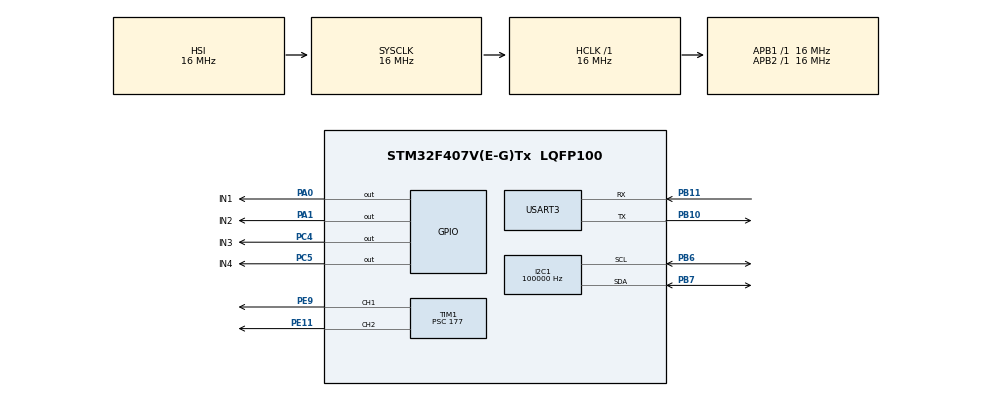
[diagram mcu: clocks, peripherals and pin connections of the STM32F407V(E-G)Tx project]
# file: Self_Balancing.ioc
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I2C1.ClockSpeed=100000
I2C1.I2C_Mode=I2C_Standard
Mcu.Family=STM32F4
Mcu.Name=STM32F407V(E-G)Tx
Mcu.Package=LQFP100
NVIC.PriorityGroup=NVIC_PRIORITYGROUP_4
NVIC.TIM3_IRQn=true\:0\:0\:false\:false\:true\:true\:true
PA0-WKUP.GPIO_Label=IN1
PA0-WKUP.GPIO_Speed=GPIO_SPEED_FREQ_HIGH
PA0-WKUP.Signal=GPIO_Output
PA1.GPIO_Label=IN2
PA1.GPIO_Speed=GPIO_SPEED_FREQ_HIGH
PA1.Signal=GPIO_Output
PB10.Mode=Asynchronous
PB10.Signal=USART3_TX
PB11.Mode=Asynchronous
PB11.Signal=USART3_RX
PB6.Mode=I2C
PB6.Signal=I2C1_SCL
PB7.Mode=I2C
PB7.Signal=I2C1_SDA
PC4.GPIO_Label=IN3
PC4.GPIO_Speed=GPIO_SPEED_FREQ_HIGH
PC4.Signal=GPIO_Output
PC5.GPIO_Label=IN4
PC5.GPIO_Speed=GPIO_SPEED_FREQ_VERY_HIGH
PC5.Signal=GPIO_Output
PE11.Signal=S_TIM1_CH2
PE9.Signal=S_TIM1_CH1
ProjectManager.HeapSize=0x200
ProjectManager.StackSize=0x400
ProjectManager.TargetToolchain=STM32CubeIDE
RCC.AHBFreq_Value=16000000
RCC.APB1Freq_Value=16000000
RCC.APB2Freq_Value=16000000
RCC.CortexFreq_Value=16000000
RCC.HSE_VALUE=25000000
RCC.HSI_VALUE=16000000
RCC.LSE_VALUE=32768
RCC.SYSCLKFreq_VALUE=16000000
RCC.VCOOutputFreq_Value=192000000
SH.S_TIM1_CH1.0=TIM1_CH1,PWM Generation1 CH1
SH.S_TIM1_CH2.0=TIM1_CH2,PWM Generation2 CH2
TIM1.Channel-PWM\ Generation1\ CH1=TIM_CHANNEL_1
TIM1.Channel-PWM\ Generation2\ CH2=TIM_CHANNEL_2
TIM1.Period=1800
TIM1.Prescaler=177
TIM3.Period=9
TIM3.Prescaler=159
USART3.VirtualMode=VM_ASYNC
VP_TIM3_VS_ClockSourceINT.Mode=Internal
board=custom

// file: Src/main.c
/* USER CODE BEGIN Header */
/**
  ******************************************************************************
  * @file           : main.c
  * @brief          : Main program body
  ******************************************************************************
  * @attention
  *
  * <h2><center>&copy; Copyright (c) 2020 STMicroelectronics.
  * All rights reserved.</center></h2>
  *
  * This software component is licensed by ST under BSD 3-Clause license,
  * the "License"; You may not use this file except in compliance with the
  * License. You may obtain a copy of the License at:
  *                        opensource.org/licenses/BSD-3-Clause
  *
  ******************************************************************************
  */
/* USER CODE END Header */

#include "main.h"
#include "i2c.h"
#include "tim.h"
#include "usart.h"
#include "gpio.h"

/* USER CODE BEGIN Includes */
#include"stdio.h"
#include"string.h"
#include <math.h>
#define MPU6050_AD 0xd0
/* USER CODE END Includes */

/* USER CODE BEGIN PV */
uint8_t DatoRecibido[15];
uint8_t DatoEnviado[2];
float Y=0.0;
float u;
float Kp=350.0;//200//360//360//360
float Ki=0.0;
float Kd=9.5;//2.5//8//9//10
float Ref=0.0;
int atras=0;
int adelante=0;
float x[3]={0,0,0};
float pedirDatosMPU();
void motores(double U);
char bufer[30];
/* USER CODE END PV */

void SystemClock_Config(void);
/* USER CODE BEGIN PFP */
void configurarMPU6050();
/* USER CODE END PFP */

int main(void)
{

  /* MCU Configuration--------------------------------------------------------*/

  /* Reset of all peripherals, Initializes the Flash interface and the Systick. */

HAL_Init();

  /* Configure the system clock */
  SystemClock_Config();

  /* Initialize all configured peripherals */
  MX_GPIO_Init();
  MX_I2C1_Init();
  MX_TIM1_Init();
  MX_TIM3_Init();
  MX_USART3_UART_Init();
  /* USER CODE BEGIN 2 */
  configurarMPU6050();
  HAL_TIM_PWM_Start(&htim1,TIM_CHANNEL_1);
  HAL_TIM_PWM_Start(&htim1,TIM_CHANNEL_2);
  //HAL_TIM_Base_Start_IT(&htim3);
  /* USER CODE END 2 */

  /* Infinite loop */
  while (1)
  {

    /* USER CODE BEGIN 3 */
	  Y=pedirDatosMPU();
	  x[0]=Ref-Y;
	  x[2]=x[0]+x[2];
	  u=Kp*x[0]+Ki*(x[2])+Kd*(x[0]-x[1]);
	  motores(u);
	  x[1]=x[0];
	  //sprintf(bufer,"Y: %i \n",Y_b);
	  //HAL_UART_Transmit(&huart3, (uint8_t*)bufer, (uint16_t)strlen(bufer), (uint32_t)100);
  }
  /* USER CODE END 3 */
}

void SystemClock_Config(void)
{
  RCC_OscInitTypeDef RCC_OscInitStruct = {0};
  RCC_ClkInitTypeDef RCC_ClkInitStruct = {0};

  /** Configure the main internal regulator output voltage
  */
  __HAL_RCC_PWR_CLK_ENABLE();
  __HAL_PWR_VOLTAGESCALING_CONFIG(PWR_REGULATOR_VOLTAGE_SCALE1);
  /** Initializes the CPU, AHB and APB busses clocks
  */
  RCC_OscInitStruct.OscillatorType = RCC_OSCILLATORTYPE_HSI;
  RCC_OscInitStruct.HSIState = RCC_HSI_ON;
  RCC_OscInitStruct.HSICalibrationValue = RCC_HSICALIBRATION_DEFAULT;
  RCC_OscInitStruct.PLL.PLLState = RCC_PLL_NONE;
  if (HAL_RCC_OscConfig(&RCC_OscInitStruct) != HAL_OK)
  {
    Error_Handler();
  }
  /** Initializes the CPU, AHB and APB busses clocks
  */
  RCC_ClkInitStruct.ClockType = RCC_CLOCKTYPE_HCLK|RCC_CLOCKTYPE_SYSCLK
                              |RCC_CLOCKTYPE_PCLK1|RCC_CLOCKTYPE_PCLK2;
  RCC_ClkInitStruct.SYSCLKSource = RCC_SYSCLKSOURCE_HSI;
  RCC_ClkInitStruct.AHBCLKDivider = RCC_SYSCLK_DIV1;
  RCC_ClkInitStruct.APB1CLKDivider = RCC_HCLK_DIV1;
  RCC_ClkInitStruct.APB2CLKDivider = RCC_HCLK_DIV1;

  if (HAL_RCC_ClockConfig(&RCC_ClkInitStruct, FLASH_LATENCY_0) != HAL_OK)
  {
    Error_Handler();
  }
}

/* USER CODE BEGIN 4 */
void configurarMPU6050(){
	   DatoEnviado[0]=0x6B;
	   DatoEnviado[1]=0x00;
	   HAL_I2C_Master_Transmit(&hi2c1,(uint16_t)MPU6050_AD,DatoEnviado,2,100);
	   DatoEnviado[0]=0x19;
	   DatoEnviado[1]=0x07;
	   HAL_I2C_Master_Transmit(&hi2c1,(uint16_t)MPU6050_AD,DatoEnviado,2,100);
	   DatoEnviado[0]=0x19;
	   DatoEnviado[1]=0x07;
	   HAL_I2C_Master_Transmit(&hi2c1,(uint16_t)MPU6050_AD,DatoEnviado,2,100);
}

float pedirDatosMPU(){
	  float AY;
	  DatoEnviado[0]=0x3B;
	  DatoEnviado[1]=0x00;
	  HAL_I2C_Master_Transmit(&hi2c1,(uint16_t)MPU6050_AD,&DatoEnviado[0],1,100);
	  HAL_I2C_Master_Receive(&hi2c1,(uint16_t)MPU6050_AD,DatoRecibido,14,100);
	  AY=(float)(((int16_t)(DatoRecibido[2]<<8|DatoRecibido[3]))/(float)1638);
	  return AY;
}

void motores(double U){
	if (U < -1750){
		U=-1750;
	}
	if (U >1750){
			U=1750;
			}

	atras=0;
	adelante=0;
	if (U>0){
		adelante=U;       // PWM de los motores atras y adelante (las dos ruedas funcionan al tiempo)
		}
	if (U<0){
		atras =fabs(U);
		}
	if (adelante != 0){
	     if (atras == 0 ){
	    	 __HAL_TIM_SET_COMPARE(&htim1,TIM_CHANNEL_1,adelante);
		 	 HAL_GPIO_WritePin(GPIOA,IN1_Pin,GPIO_PIN_SET);	///MANDAR UNO AL PIN IN1 DEL PUENTE H
		 	 HAL_GPIO_WritePin(GPIOA,IN2_Pin,GPIO_PIN_RESET);
		 	 __HAL_TIM_SET_COMPARE(&htim1,TIM_CHANNEL_2,adelante);
		 	 HAL_GPIO_WritePin(GPIOC,IN3_Pin,GPIO_PIN_RESET);	///MANDAR UNO AL PIN IN1 DEL PUENTE H
		 	 HAL_GPIO_WritePin(GPIOC,IN4_Pin,GPIO_PIN_SET);
	     }
	  }

	if (atras != 0){
		if (adelante == 0){
			__HAL_TIM_SET_COMPARE(&htim1,TIM_CHANNEL_1,atras);
		 	HAL_GPIO_WritePin(GPIOA,IN1_Pin,GPIO_PIN_RESET);	///MANDAR CERO AL PIN IN1 DEL PUENTE H
		 	HAL_GPIO_WritePin(GPIOA,IN2_Pin,GPIO_PIN_SET);
		    __HAL_TIM_SET_COMPARE(&htim1,TIM_CHANNEL_2,atras);
		    HAL_GPIO_WritePin(GPIOC,IN3_Pin,GPIO_PIN_SET);	///MANDAR CERO AL PIN IN1 DEL PUENTE H
		 	HAL_GPIO_WritePin(GPIOC,IN4_Pin,GPIO_PIN_RESET);
				}
			}
}

/* USER CODE END 4 */

void Error_Handler(void)
{
}

/************************ (C) COPYRIGHT STMicroelectronics *****END OF FILE****/
